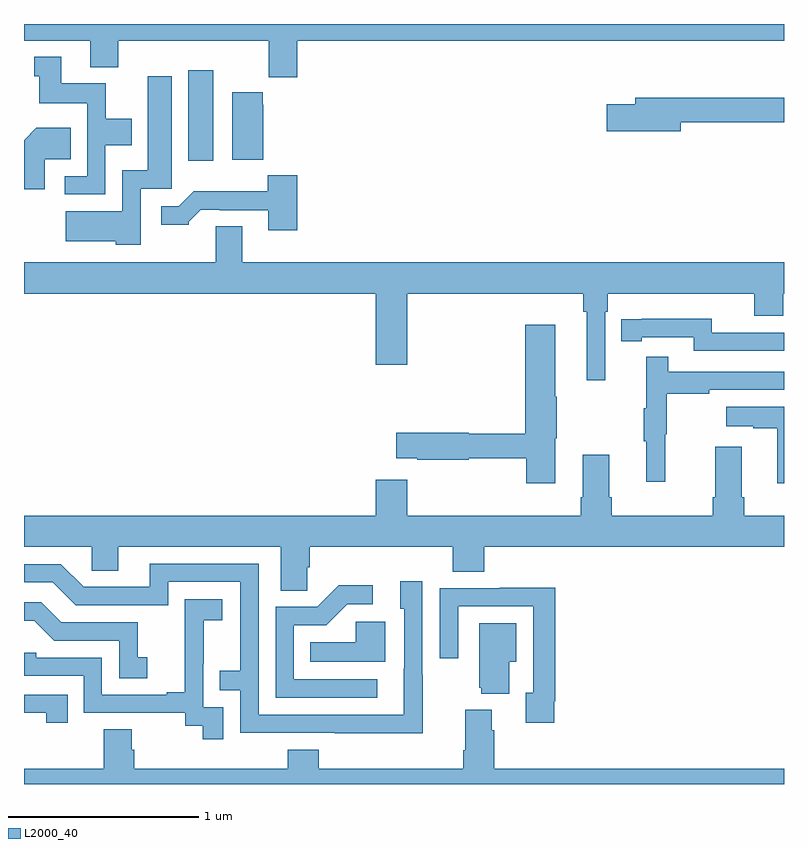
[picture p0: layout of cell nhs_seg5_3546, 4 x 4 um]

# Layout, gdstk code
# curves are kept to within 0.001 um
import gdstk
lib = gdstk.Library(unit=1e-6, precision=1e-09)
def R(c, l, rs):  # rectangles x0, y0, x1, y1
    for r in rs: c.add(gdstk.rectangle(r[:2], r[2:], *l))
def P(c, l, *ps):  # polygons
    for p in ps: c.add(gdstk.Polygon(p, *l))
L2000_40 = (2000, 40)

nhs_seg5_3546 = lib.new_cell('nhs_seg5_3546')
R(nhs_seg5_3546, L2000_40, [(319.865,904.08,319.996,904.555)])
P(nhs_seg5_3546, L2000_40, [(320.438,904.712),(323,904.712),(323,904.799),(319,904.799),(319,904.712),(319.349,904.712),(319.349,904.571),(319.497,904.571),(319.497,904.712),(320.287,904.712),(320.287,904.519),(320.438,904.519)],
  [(319.428,904.16),(319.567,904.16),(319.567,904.3),(319.431,904.3),(319.431,904.486),(319.195,904.486),(319.195,904.627),(319.055,904.627),(319.055,904.524),(319.079,904.524),(319.079,904.382),(319.332,904.382),(319.332,903.999),(319.215,903.999),(319.215,903.903),(319.428,903.903)],
  [(319.614,903.933),(319.777,903.933),(319.777,904.525),(319.652,904.525),(319.652,904.03),(319.518,904.03),(319.518,903.814),(319.221,903.814),(319.221,903.656),(319.482,903.656),(319.482,903.638),(319.614,903.638)],
  [(320.258,904.233),(320.26,904.233),(320.26,904.374),(320.257,904.374),(320.257,904.439),(320.096,904.439),(320.096,904.085),(320.258,904.085)],
  [(322.456,904.282),(323,904.282),(323,904.411),(322.217,904.411),(322.217,904.377),(322.068,904.377),(322.068,904.235),(322.456,904.235)],
  [(319.108,904.088),(319.247,904.088),(319.247,904.252),(319.064,904.252),(319,904.188),(319,903.93),(319.108,903.93)],
  [(320.438,904.003),(320.283,904.003),(320.283,903.919),(319.894,903.919),(319.815,903.84),(319.722,903.84),(319.722,903.743),(319.866,903.743),(319.866,903.758),(319.93,903.822),(320.029,903.822),(320.029,903.819),(320.285,903.819),(320.285,903.714),(320.438,903.714)],
  [(322.059,903.284),(322.073,903.284),(322.073,903.38),(322.844,903.38),(322.844,903.263),(322.997,903.263),(322.997,903.38),(323,903.38),(323,903.544),(320.149,903.544),(320.149,903.734),(320.009,903.734),(320.009,903.544),(319,903.544),(319,903.38),(320.852,903.38),(320.852,903.006),(321.016,903.006),(321.016,903.38),(321.943,903.38),(321.943,903.284),(321.962,903.284),(321.962,902.925),(322.059,902.925)],
  [(323,903.174),(322.62,903.174),(322.62,903.247),(322.252,903.247),(322.252,903.246),(322.144,903.246),(322.144,903.13),(322.252,903.13),(322.252,903.15),(322.524,903.15),(322.524,903.078),(323,903.078)],
  [(321.796,902.619),(321.804,902.619),(321.804,902.837),(321.796,902.837),(321.796,903.217),(321.638,903.217),(321.638,902.642),(321.342,902.642),(321.342,902.648),(320.958,902.648),(320.958,902.513),(321.07,902.513),(321.07,902.506),(321.342,902.506),(321.342,902.514),(321.643,902.514),(321.643,902.382),(321.796,902.382)],
  [(322.376,902.64),(322.384,902.64),(322.384,902.854),(322.607,902.854),(322.607,902.874),(323,902.874),(323,902.97),(322.391,902.97),(322.391,903.049),(322.274,903.049),(322.274,902.777),(322.263,902.777),(322.263,902.603),(322.274,902.603),(322.274,902.391),(322.376,902.391)],
  [(323,902.785),(322.695,902.785),(322.695,902.681),(322.838,902.681),(322.838,902.671),(322.964,902.671),(322.964,902.382),(323,902.382)],
  [(320.49,901.939),(320.504,901.939),(320.504,902.048),(321.257,902.048),(321.257,901.915),(321.422,901.915),(321.422,902.048),(323,902.048),(323,902.212),(322.79,902.212),(322.79,902.308),(322.777,902.308),(322.777,902.575),(322.637,902.575),(322.637,902.308),(322.625,902.308),(322.625,902.212),(322.094,902.212),(322.094,902.308),(322.081,902.308),(322.081,902.533),(321.941,902.533),(321.941,902.308),(321.929,902.308),(321.929,902.212),(321.016,902.212),(321.016,902.401),(320.852,902.401),(320.852,902.212),(319,902.212),(319,902.048),(319.356,902.048),(319.356,901.921),(319.495,901.921),(319.495,902.048),(320.351,902.048),(320.351,901.816),(320.49,901.816)],
  [(321.099,901.373),(321.096,901.373),(321.096,901.867),(320.981,901.867),(320.981,901.722),(321,901.722),(320.999,901.164),(320.235,901.164),(320.235,901.959),(319.661,901.959),(319.661,901.836),(319.314,901.836),(319.194,901.956),(319,901.956),(319,901.86),(319.152,901.86),(319.272,901.74),(319.758,901.74),(319.758,901.863),(320.139,901.863),(320.139,901.394),(320.029,901.394),(320.029,901.293),(320.139,901.293),(320.139,901.068),(321.099,901.067)],
  [(320.86,901.35),(320.421,901.35),(320.421,901.635),(320.59,901.635),(320.701,901.746),(320.836,901.746),(320.836,901.844),(320.657,901.844),(320.544,901.731),(320.325,901.731),(320.325,901.254),(320.86,901.254)],
  [(321.79,901.234),(321.797,901.234),(321.797,901.832),(321.505,901.832),(321.505,901.83),(321.189,901.83),(321.189,901.461),(321.285,901.461),(321.285,901.734),(321.681,901.734),(321.681,901.278),(321.641,901.278),(321.641,901.122),(321.79,901.122)],
  [(320.049,901.203),(319.944,901.203),(319.944,901.433),(319.946,901.433),(319.946,901.661),(320.044,901.661),(320.044,901.771),(319.846,901.771),(319.846,901.565),(319.847,901.565),(319.847,901.282),(319.751,901.282),(319.751,901.269),(319.41,901.269),(319.41,901.464),(319.065,901.464),(319.065,901.491),(319,901.491),(319,901.368),(319.314,901.368),(319.314,901.173),(319.848,901.173),(319.848,901.105),(319.941,901.105),(319.941,901.035),(320.049,901.035)],
  [(319.648,901.465),(319.599,901.465),(319.599,901.65),(319.195,901.65),(319.09,901.755),(319,901.755),(319,901.658),(319.054,901.658),(319.158,901.554),(319.5,901.554),(319.5,901.356),(319.648,901.356)],
  [(320.902,901.654),(320.745,901.654),(320.745,901.546),(320.506,901.546),(320.506,901.442),(320.902,901.442)],
  [(321.553,901.442),(321.592,901.442),(321.592,901.645),(321.395,901.645),(321.395,901.305),(321.407,901.305),(321.407,901.274),(321.553,901.274)],
  [(319.229,901.269),(319,901.269),(319,901.173),(319.118,901.173),(319.118,901.122),(319.229,901.122)],
  [(323,900.88),(321.476,900.88),(321.476,901.082),(321.463,901.082),(321.463,901.189),(321.323,901.189),(321.323,900.976),(321.311,900.976),(321.311,900.88),(320.552,900.88),(320.552,900.979),(320.387,900.979),(320.387,900.88),(319.58,900.88),(319.58,900.978),(319.567,900.978),(319.567,901.088),(319.42,901.088),(319.42,900.88),(319,900.88),(319,900.799),(323,900.799)])

lib.write_gds('nhs_seg5_3546.gds')
